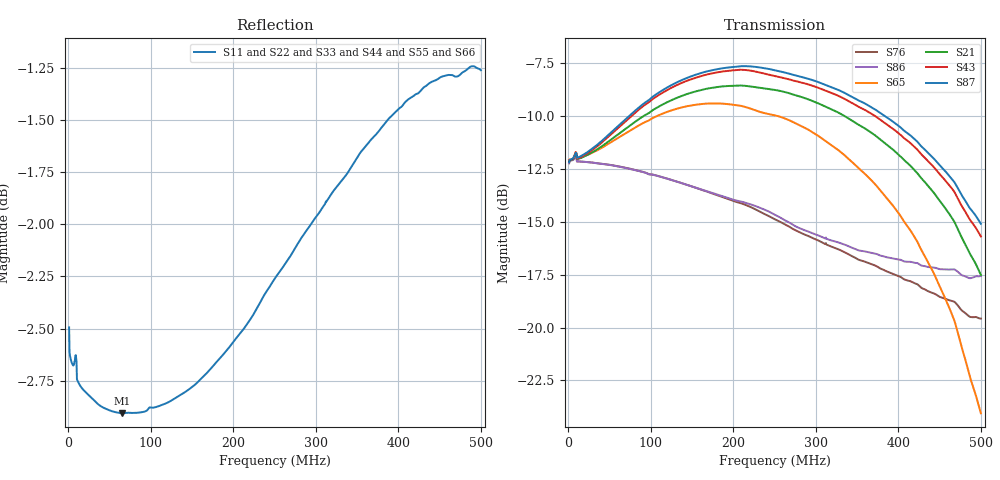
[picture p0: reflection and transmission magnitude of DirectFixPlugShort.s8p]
!Agilent Technologies,M9370A,MY54322275,A.02.50.04
!Agilent M9370A: A.02.50.04
!Date: Friday, April 06, 2018 14:58:52
!Correction: S11(Full 8 Port(1,2,3,4,5,6,7,8))
!S12(Full 8 Port(1,2,3,4,5,6,7,8))
!S13(Full 8 Port(1,2,3,4,5,6,7,8))
!S14(Full 8 Port(1,2,3,4,5,6,7,8))
!S15(Full 8 Port(1,2,3,4,5,6,7,8))
!S16(Full 8 Port(1,2,3,4,5,6,7,8))
!S17(Full 8 Port(1,2,3,4,5,6,7,8))
!S18(Full 8 Port(1,2,3,4,5,6,7,8))
!S21(Full 8 Port(1,2,3,4,5,6,7,8))
!S22(Full 8 Port(1,2,3,4,5,6,7,8))
!S23(Full 8 Port(1,2,3,4,5,6,7,8))
!S24(Full 8 Port(1,2,3,4,5,6,7,8))
!S25(Full 8 Port(1,2,3,4,5,6,7,8))
!S26(Full 8 Port(1,2,3,4,5,6,7,8))
!S27(Full 8 Port(1,2,3,4,5,6,7,8))
!S28(Full 8 Port(1,2,3,4,5,6,7,8))
!S31(Full 8 Port(1,2,3,4,5,6,7,8))
!S32(Full 8 Port(1,2,3,4,5,6,7,8))
!S33(Full 8 Port(1,2,3,4,5,6,7,8))
!S34(Full 8 Port(1,2,3,4,5,6,7,8))
!S35(Full 8 Port(1,2,3,4,5,6,7,8))
!S36(Full 8 Port(1,2,3,4,5,6,7,8))
!S37(Full 8 Port(1,2,3,4,5,6,7,8))
!S38(Full 8 Port(1,2,3,4,5,6,7,8))
!S41(Full 8 Port(1,2,3,4,5,6,7,8))
!S42(Full 8 Port(1,2,3,4,5,6,7,8))
!S43(Full 8 Port(1,2,3,4,5,6,7,8))
!S44(Full 8 Port(1,2,3,4,5,6,7,8))
!S45(Full 8 Port(1,2,3,4,5,6,7,8))
!S46(Full 8 Port(1,2,3,4,5,6,7,8))
!S47(Full 8 Port(1,2,3,4,5,6,7,8))
!S48(Full 8 Port(1,2,3,4,5,6,7,8))
!S51(Full 8 Port(1,2,3,4,5,6,7,8))
!S52(Full 8 Port(1,2,3,4,5,6,7,8))
!S53(Full 8 Port(1,2,3,4,5,6,7,8))
!S54(Full 8 Port(1,2,3,4,5,6,7,8))
!S55(Full 8 Port(1,2,3,4,5,6,7,8))
!S56(Full 8 Port(1,2,3,4,5,6,7,8))
!S57(Full 8 Port(1,2,3,4,5,6,7,8))
!S58(Full 8 Port(1,2,3,4,5,6,7,8))
!S61(Full 8 Port(1,2,3,4,5,6,7,8))
!S62(Full 8 Port(1,2,3,4,5,6,7,8))
!S63(Full 8 Port(1,2,3,4,5,6,7,8))
!S64(Full 8 Port(1,2,3,4,5,6,7,8))
!S65(Full 8 Port(1,2,3,4,5,6,7,8))
!S66(Full 8 Port(1,2,3,4,5,6,7,8))
!S67(Full 8 Port(1,2,3,4,5,6,7,8))
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# Hz S  RI  R 50
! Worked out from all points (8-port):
!   1000 points, 1 MHz to 500 MHz, reference 50 ohm
!   strongest paths, dB at 1 MHz, 125.9 MHz, 250.7 MHz, 375.6 MHz, 500 MHz:
!     S87: -12.2, -8.5, -7.8, -9.8, -15.1
!     S43: -12.2, -8.7, -8.1, -10.1, -15.7
!     S21: -12.2, -9.2, -8.8, -11.0, -17.5
!     S65: -12.1, -9.7, -10.0, -13.4, -24.1
!     S86: -12.2, -13.0, -14.7, -16.6, -17.6
!     S76: -12.2, -13.0, -14.9, -17.1, -19.6
!   lowest |S11| = -2.9 dB at 64.94 MHz (marker M1), VSWR 6.03, Z = 8.98 + j14.2 ohm
!   |S11| at or under -10 dB: nowhere
